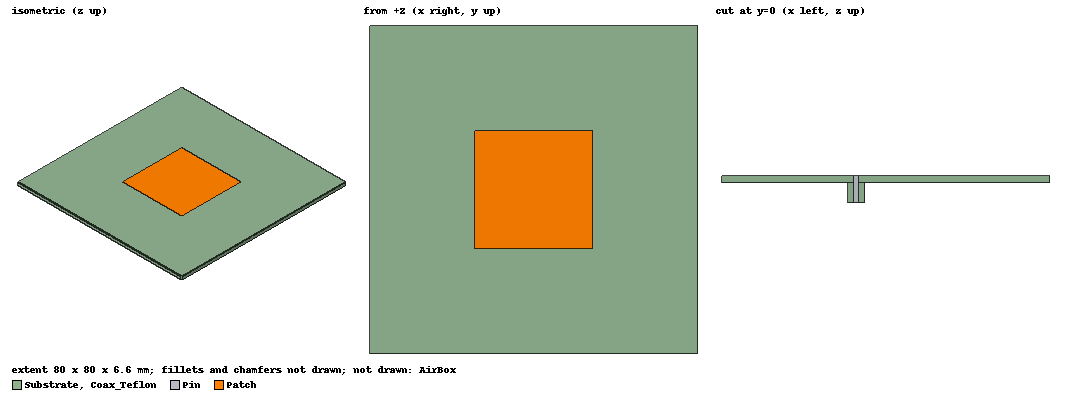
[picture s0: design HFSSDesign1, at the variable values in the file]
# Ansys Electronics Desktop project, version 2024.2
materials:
  vacuum: permittivity=1
  FR4_epoxy: permittivity=4.4 dielectric_loss_tangent=0.02
  pec: conductivity=1e+30
  teflon_based: permittivity=2.08 dielectric_loss_tangent=0.001

design HFSSDesign1 (HFSS, HFSS Modal Network, model units mm)
options: Save_Adaptive_support_files
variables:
  freq_ = 2.4GHz
  Sub_h = 1.6mm
  Sub_W = 80mm
  Patch_L = 28.9mm
  Pin_R = 0.635mm
  Teflon_R = 2.05mm
  Conn_L = 5mm
  Feed_Pos = 7.25mm
  Cut_L = 3.6mm
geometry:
  GND = rectangle(corner=(-Sub_W/2, -Sub_W/2, 0mm), x_size=Sub_W, y_size=Sub_W)
  Substrate [FR4_epoxy] = box(corner=(-Sub_W/2, -Sub_W/2, 0mm), size=(Sub_W, Sub_W, Sub_h))
  Patch = rectangle(corner=(-Patch_L/2, -Patch_L/2, Sub_h), x_size=Patch_L, y_size=Patch_L)
  Pin [pec] = cylinder(axis=Z, base_centre=(Feed_Pos, 0mm, -Conn_L), radius=Pin_R, height=Conn_L + Sub_h)
  Coax_Teflon [teflon_based] = cylinder(axis=Z, base_centre=(Feed_Pos, 0mm, -Conn_L), radius=Teflon_R, height=Conn_L)
  Circle1 = circle(normal=Z, centre=(Feed_Pos, 0mm, 0mm), radius=Teflon_R)
  GND.subtract(Circle1)
  Pin_1 = Pin.copy()
  Substrate.subtract(Pin_1)
  Circle2 = circle(normal=Z, centre=(Feed_Pos, 0mm, -Conn_L), radius=Teflon_R)
  AirBox [vacuum] = box(corner=(-(Sub_W/2 + 35mm), -(Sub_W/2 + 35mm), -Conn_L), size=(Sub_W + 70mm, Sub_W + 70mm, Conn_L + Sub_h + 50mm))
  Pin_2 = Pin.copy()
  Coax_Teflon.subtract(Pin_2)
  Patch.chamfer(Vertices=Patch.vertex(at (-14.45, -14.45, 1.6), at (14.45, 14.45, 1.6)) LeftDistance=Cut_L RightDistance=Cut_L ChamferType=Symmetric)
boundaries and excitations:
  PerfE_GND: Perfect E Objects=GND
  PerfE_Patch: Perfect E Objects=Patch
  Rad1: Radiation Objects=AirBox
  PerfE_OuterCond: Perfect E Faces=Coax_Teflon.face(side)
  p1: Wave Port Objects=Circle2 WavePortType=Modal NumModes=1 Modes{Mode1{IntLine{(7.885, 0, -5) -> (9.3, 0, -5)} CharImp=Zpi}}
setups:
  Setup1: HfssDriven Frequency=2.4GHz MaxDeltaS=0.02 MaximumPasses=20 MinimumPasses=2 MinimumConvergedPasses=1 PercentRefinement=30 BasisOrder=1 PortAccuracy=2 DrivenSolverType="Direct Solver"
    sweep Sweep: 2.3GHz to 2.5GHz step 0.01GHz; Type=Discrete SaveFields
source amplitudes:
  p1:1: 1W 0deg
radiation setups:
  Infinite Sphere1: Infinite Sphere Theta=0deg..90deg step 1deg Phi=0deg..358deg step 2deg
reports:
  S Parameter Plot 1: dB(S(p1,p1)) vs Freq on Setup1 : Sweep; markers MX1 at x=2.4001985e+09
  Axial Ratio Plot 1: dB(AxialRatioValue) vs Theta on Setup1 : LastAdaptive, Infinite Sphere1 [Theta=0deg,1deg,2deg,3deg,4deg,5deg,6deg,7deg,8deg,9deg,10deg,11deg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 Phi=0deg,44deg,90deg Freq=2.4GHz]; markers MX1 at x=1.0481204
  Axial Ratio Plot 2: dB(AxialRatioValue) vs Phi on Setup1 : LastAdaptive, Infinite Sphere1 [Theta=60deg Freq=2.4GHz]; markers MY1 at y=4.06873
